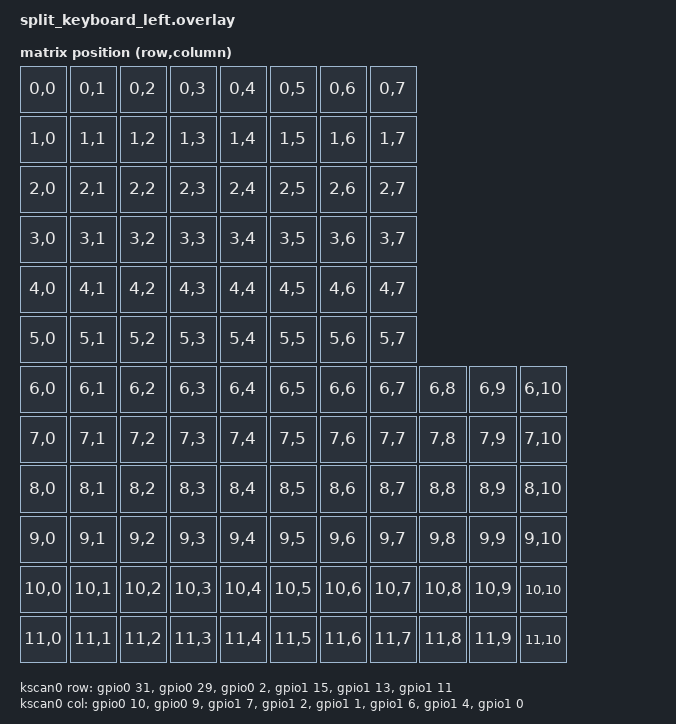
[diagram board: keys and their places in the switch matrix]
#include <dt-bindings/zmk/matrix_transform.h>

// ============================================================
// 왼쪽 핀 매핑 (확정):
//   Row 0 = P0.31 / Row 1 = P0.29 / Row 2 = P0.02
//   Row 3 = P1.15 / Row 4 = P1.13 / Row 5 = P1.11
//   Col 0 = P0.10 / Col 1 = P0.09 / Col 2 = P1.07
//   Col 3 = P1.02 / Col 4 = P1.01 / Col 5 = P1.06
//   Col 6 = P1.04 / Col 7 = P1.00
//   UART TX = P0.06 (고정) / UART RX = P0.08 (고정)
// ============================================================

&uart0 {
    status = "okay";
};

/ {
    chosen {
        zmk,kscan = &kscan0;
        zmk,matrix_transform = &default_transform;
    };

    default_transform: keymap_transform {
        compatible = "zmk,matrix-transform";
        columns = <11>;
        rows = <12>;
        map = <
            // ===== 왼쪽 (Central) =====
            RC(0,0) RC(0,1) RC(0,2) RC(0,3) RC(0,4) RC(0,5) RC(0,6) RC(0,7)
            RC(1,0) RC(1,1) RC(1,2) RC(1,3) RC(1,4) RC(1,5) RC(1,6) RC(1,7)
            RC(2,0) RC(2,1) RC(2,2) RC(2,3) RC(2,4) RC(2,5) RC(2,6) RC(2,7)
            RC(3,0) RC(3,1) RC(3,2) RC(3,3) RC(3,4) RC(3,5) RC(3,6) RC(3,7)
            RC(4,0) RC(4,1) RC(4,2) RC(4,3) RC(4,4) RC(4,5) RC(4,6) RC(4,7)
            RC(5,0) RC(5,1) RC(5,2) RC(5,3) RC(5,4) RC(5,5) RC(5,6) RC(5,7)

            // ===== 오른쪽 (Peripheral) =====
            RC(6,0)  RC(6,1)  RC(6,2)  RC(6,3)  RC(6,4)  RC(6,5)  RC(6,6)  RC(6,7)  RC(6,8)  RC(6,9)  RC(6,10)
            RC(7,0)  RC(7,1)  RC(7,2)  RC(7,3)  RC(7,4)  RC(7,5)  RC(7,6)  RC(7,7)  RC(7,8)  RC(7,9)  RC(7,10)
            RC(8,0)  RC(8,1)  RC(8,2)  RC(8,3)  RC(8,4)  RC(8,5)  RC(8,6)  RC(8,7)  RC(8,8)  RC(8,9)  RC(8,10)
            RC(9,0)  RC(9,1)  RC(9,2)  RC(9,3)  RC(9,4)  RC(9,5)  RC(9,6)  RC(9,7)  RC(9,8)  RC(9,9)  RC(9,10)
            RC(10,0) RC(10,1) RC(10,2) RC(10,3) RC(10,4) RC(10,5) RC(10,6) RC(10,7) RC(10,8) RC(10,9) RC(10,10)
            RC(11,0) RC(11,1) RC(11,2) RC(11,3) RC(11,4) RC(11,5) RC(11,6) RC(11,7) RC(11,8) RC(11,9) RC(11,10)
        >;
    };

    kscan0: kscan {
        compatible = "zmk,kscan-gpio-matrix";
        label = "KSCAN";
        diode-direction = "col2row";

        row-gpios
            = <&gpio0 31 (GPIO_ACTIVE_HIGH | GPIO_PULL_DOWN)>  // Row 0 = P0.31
            , <&gpio0 29 (GPIO_ACTIVE_HIGH | GPIO_PULL_DOWN)>  // Row 1 = P0.29
            , <&gpio0  2 (GPIO_ACTIVE_HIGH | GPIO_PULL_DOWN)>  // Row 2 = P0.02
            , <&gpio1 15 (GPIO_ACTIVE_HIGH | GPIO_PULL_DOWN)>  // Row 3 = P1.15
            , <&gpio1 13 (GPIO_ACTIVE_HIGH | GPIO_PULL_DOWN)>  // Row 4 = P1.13
            , <&gpio1 11 (GPIO_ACTIVE_HIGH | GPIO_PULL_DOWN)>; // Row 5 = P1.11

        col-gpios
            = <&gpio0 10 GPIO_ACTIVE_HIGH>  // Col 0 = P0.10
            , <&gpio0  9 GPIO_ACTIVE_HIGH>  // Col 1 = P0.09
            , <&gpio1  7 GPIO_ACTIVE_HIGH>  // Col 2 = P1.07
            , <&gpio1  2 GPIO_ACTIVE_HIGH>  // Col 3 = P1.02
            , <&gpio1  1 GPIO_ACTIVE_HIGH>  // Col 4 = P1.01
            , <&gpio1  6 GPIO_ACTIVE_HIGH>  // Col 5 = P1.06
            , <&gpio1  4 GPIO_ACTIVE_HIGH>  // Col 6 = P1.04
            , <&gpio1  0 GPIO_ACTIVE_HIGH>; // Col 7 = P1.00
    };
};
